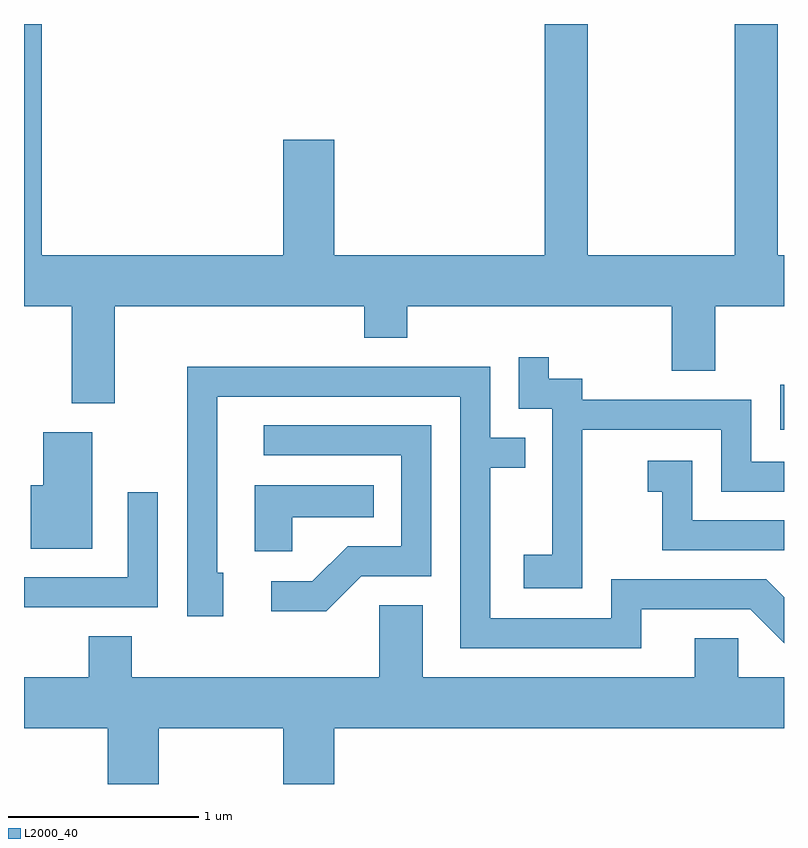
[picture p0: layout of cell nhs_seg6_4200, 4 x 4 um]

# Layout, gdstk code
import gdstk
lib = gdstk.Library(unit=1e-6, precision=1e-09)
def R(c, l, rs):  # rectangles x0, y0, x1, y1
    for r in rs: c.add(gdstk.rectangle(r[:2], r[2:], *l))
def P(c, l, *ps):  # polygons
    for p in ps: c.add(gdstk.Polygon(p, *l))
L2000_40 = (2000, 40)

nhs_seg6_4200 = lib.new_cell('nhs_seg6_4200')
R(nhs_seg6_4200, L2000_40, [(317.591,1576.026,317.611,1576.263)])
P(nhs_seg6_4200, L2000_40, [(314.089,1576.676),(315.401,1576.676),(315.401,1576.511),(315.629,1576.511),(315.629,1576.676),(317.021,1576.676),(317.021,1576.336),(317.249,1576.336),(317.249,1576.676),(317.611,1576.676),(317.611,1576.944),(317.579,1576.944),(317.579,1578.162),(317.351,1578.162),(317.351,1576.944),(316.579,1576.944),(316.579,1578.162),(316.351,1578.162),(316.351,1576.944),(315.244,1576.944),(315.244,1577.554),(314.976,1577.554),(314.976,1576.944),(313.704,1576.944),(313.704,1578.162),(313.611,1578.162),(313.611,1576.676),(313.861,1576.676),(313.861,1576.166),(314.089,1576.166)],
  [(316.549,1576.026),(317.281,1576.026),(317.281,1575.701),(317.611,1575.701),(317.611,1575.859),(317.439,1575.859),(317.439,1576.184),(316.549,1576.184),(316.549,1576.294),(316.374,1576.294),(316.374,1576.408),(316.216,1576.408),(316.216,1576.136),(316.391,1576.136),(316.391,1575.369),(316.241,1575.369),(316.241,1575.191),(316.549,1575.191)],
  [(316.859,1575.081),(317.434,1575.081),(317.611,1574.904),(317.611,1575.145),(317.517,1575.239),(316.701,1575.239),(316.701,1575.034),(316.064,1575.034),(316.064,1575.826),(316.248,1575.826),(316.248,1575.984),(316.064,1575.984),(316.064,1576.359),(314.471,1576.359),(314.471,1575.046),(314.659,1575.046),(314.659,1575.274),(314.629,1575.274),(314.629,1576.201),(315.906,1576.201),(315.906,1574.876),(316.859,1574.876)],
  [(315.387,1575.256),(315.754,1575.256),(315.754,1576.049),(314.873,1576.049),(314.873,1575.891),(315.596,1575.891),(315.596,1575.414),(315.314,1575.414),(315.129,1575.229),(314.913,1575.229),(314.913,1575.071),(315.202,1575.071)],
  [(313.969,1576.014),(313.711,1576.014),(313.711,1575.734),(313.646,1575.734),(313.646,1575.401),(313.969,1575.401)],
  [(317.611,1575.549),(317.129,1575.549),(317.129,1575.864),(316.893,1575.864),(316.893,1575.701),(316.971,1575.701),(316.971,1575.391),(317.611,1575.391)],
  [(315.024,1575.566),(315.453,1575.566),(315.453,1575.734),(314.826,1575.734),(314.826,1575.386),(315.024,1575.386)],
  [(314.314,1575.698),(314.156,1575.698),(314.156,1575.249),(313.611,1575.249),(313.611,1575.091),(314.314,1575.091)],
  [(314.319,1574.456),(314.976,1574.456),(314.976,1574.162),(315.244,1574.162),(315.244,1574.456),(317.611,1574.456),(317.611,1574.724),(317.369,1574.724),(317.369,1574.929),(317.141,1574.929),(317.141,1574.724),(315.709,1574.724),(315.709,1575.104),(315.481,1575.104),(315.481,1574.724),(314.179,1574.724),(314.179,1574.939),(313.951,1574.939),(313.951,1574.724),(313.611,1574.724),(313.611,1574.456),(314.051,1574.456),(314.051,1574.162),(314.319,1574.162)])

lib.write_gds('nhs_seg6_4200.gds')
